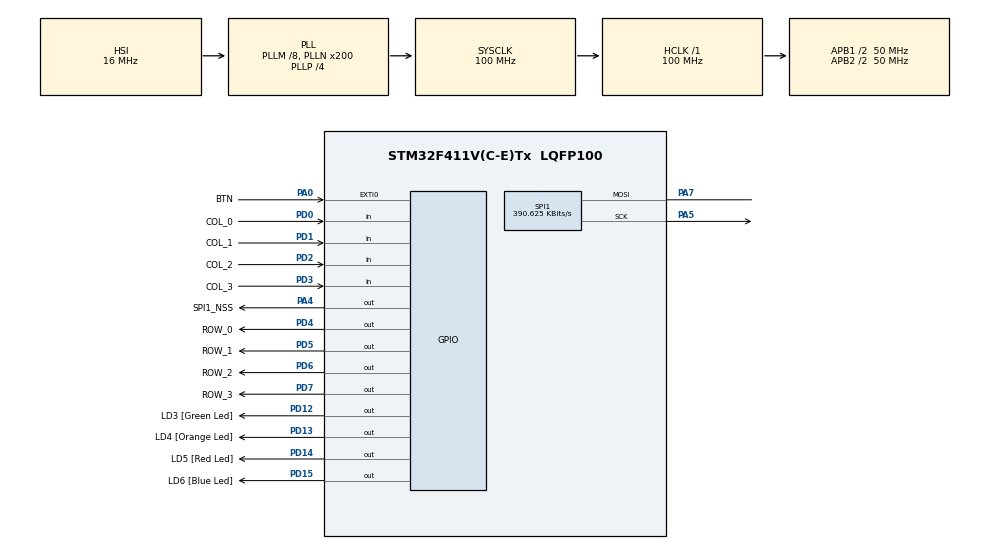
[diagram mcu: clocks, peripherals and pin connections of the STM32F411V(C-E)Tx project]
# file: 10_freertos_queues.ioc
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Mcu.Family=STM32F4
Mcu.Name=STM32F411V(C-E)Tx
Mcu.Package=LQFP100
NVIC.EXTI0_IRQn=true\:7\:0\:true\:false\:true\:true\:true
NVIC.PriorityGroup=NVIC_PRIORITYGROUP_4
NVIC.TIM5_IRQn=true\:15\:0\:true\:false\:true\:false\:true
NVIC.TimeBase=TIM5_IRQn
NVIC.TimeBaseIP=TIM5
PA0-WKUP.GPIO_Label=BTN
PA0-WKUP.GPIO_PuPd=GPIO_PULLDOWN
PA0-WKUP.Signal=GPXTI0
PA13.GPIO_Label=SWDIO
PA13.Signal=SYS_JTMS-SWDIO
PA14.GPIO_Label=SWCLK
PA14.Signal=SYS_JTCK-SWCLK
PA4.GPIO_Label=SPI1_NSS
PA4.GPIO_PuPd=GPIO_PULLDOWN
PA4.GPIO_Speed=GPIO_SPEED_FREQ_MEDIUM
PA4.PinState=GPIO_PIN_SET
PA4.Signal=GPIO_Output
PA5.Mode=Simplex_Bidirectional_Master
PA5.Signal=SPI1_SCK
PA7.Mode=Simplex_Bidirectional_Master
PA7.Signal=SPI1_MOSI
PB3.GPIO_Label=SWO
PB3.Signal=SYS_JTDO-SWO
PD0.GPIO_Label=COL_0
PD0.GPIO_PuPd=GPIO_PULLDOWN
PD0.Signal=GPIO_Input
PD1.GPIO_Label=COL_1
PD1.GPIO_PuPd=GPIO_PULLDOWN
PD1.Signal=GPIO_Input
PD12.GPIO_Label=LD3 [Green Led]
PD12.GPIO_PuPd=GPIO_NOPULL
PD12.GPIO_Speed=GPIO_SPEED_FREQ_HIGH
PD12.Signal=GPIO_Output
PD13.GPIO_Label=LD4 [Orange Led]
PD13.GPIO_PuPd=GPIO_NOPULL
PD13.GPIO_Speed=GPIO_SPEED_FREQ_HIGH
PD13.Signal=GPIO_Output
PD14.GPIO_Label=LD5 [Red Led]
PD14.GPIO_PuPd=GPIO_NOPULL
PD14.GPIO_Speed=GPIO_SPEED_FREQ_HIGH
PD14.Signal=GPIO_Output
PD15.GPIO_Label=LD6 [Blue Led]
PD15.GPIO_PuPd=GPIO_NOPULL
PD15.GPIO_Speed=GPIO_SPEED_FREQ_HIGH
PD15.Signal=GPIO_Output
PD2.GPIO_Label=COL_2
PD2.GPIO_PuPd=GPIO_PULLDOWN
PD2.Signal=GPIO_Input
PD3.GPIO_Label=COL_3
PD3.GPIO_PuPd=GPIO_PULLDOWN
PD3.Signal=GPIO_Input
PD4.GPIO_Label=ROW_0
PD4.GPIO_PuPd=GPIO_PULLDOWN
PD4.GPIO_Speed=GPIO_SPEED_FREQ_HIGH
PD4.Signal=GPIO_Output
PD5.GPIO_Label=ROW_1
PD5.GPIO_PuPd=GPIO_PULLDOWN
PD5.GPIO_Speed=GPIO_SPEED_FREQ_HIGH
PD5.Signal=GPIO_Output
PD6.GPIO_Label=ROW_2
PD6.GPIO_PuPd=GPIO_PULLDOWN
PD6.GPIO_Speed=GPIO_SPEED_FREQ_HIGH
PD6.Signal=GPIO_Output
PD7.GPIO_Label=ROW_3
PD7.GPIO_PuPd=GPIO_PULLDOWN
PD7.GPIO_Speed=GPIO_SPEED_FREQ_HIGH
PD7.Signal=GPIO_Output
ProjectManager.HeapSize=0x200
ProjectManager.StackSize=0x400
ProjectManager.TargetToolchain=STM32CubeIDE
RCC.48MHZClocksFreq_Value=50000000
RCC.AHBFreq_Value=100000000
RCC.APB1CLKDivider=RCC_HCLK_DIV2
RCC.APB1Freq_Value=50000000
RCC.APB1TimFreq_Value=100000000
RCC.APB2CLKDivider=RCC_HCLK_DIV2
RCC.APB2Freq_Value=50000000
RCC.APB2TimFreq_Value=100000000
RCC.CortexFreq_Value=100000000
RCC.HCLKFreq_Value=100000000
RCC.HSE_VALUE=8000000
RCC.HSI_VALUE=16000000
RCC.LSE_VALUE=32768
RCC.PLLI2SM=5
RCC.PLLI2SN=200
RCC.PLLM=8
RCC.PLLN=200
RCC.PLLP=RCC_PLLP_DIV4
RCC.PLLQ=8
RCC.SYSCLKFreq_VALUE=100000000
RCC.SYSCLKSource=RCC_SYSCLKSOURCE_PLLCLK
RCC.VCOOutputFreq_Value=400000000
SPI1.BaudRatePrescaler=SPI_BAUDRATEPRESCALER_128
SPI1.CLKPhase=SPI_PHASE_2EDGE
SPI1.CLKPolarity=SPI_POLARITY_HIGH
SPI1.CalculateBaudRate=390.625 KBits/s
SPI1.Direction=SPI_DIRECTION_1LINE
SPI1.FirstBit=SPI_FIRSTBIT_LSB
SPI1.Mode=SPI_MODE_MASTER
SPI1.VirtualType=VM_MASTER
VP_SYS_VS_tim5.Mode=TIM5
board=STM32F411E-DISCO

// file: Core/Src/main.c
/* USER CODE BEGIN Header */
/**
 ******************************************************************************
 * @file           : main.c
 * @brief          : Main program body
 ******************************************************************************
 * @attention
 *
 * Copyright (c) 2023 STMicroelectronics.
 * All rights reserved.
 *
 * This software is licensed under terms that can be found in the LICENSE file
 * in the root directory of this software component.
 * If no LICENSE file comes with this software, it is provided AS-IS.
 *
 ******************************************************************************
 */
/* USER CODE END Header */
#include "main.h"

/* USER CODE BEGIN Includes */
#include "FreeRTOS.h"
#include "task.h"
#include <stdio.h>
#include "queue.h"
/* USER CODE END Includes */

SPI_HandleTypeDef hspi1;

/* USER CODE BEGIN PV */
#define DWT_CTRL    (*(volatile uint32_t*)0xE0001000)

TaskHandle_t led_green;
TaskHandle_t keypad;

QueueHandle_t qdata_key;

struct data {
	uint32_t id;
	uint32_t number;
};
/* USER CODE END PV */

void SystemClock_Config(void);
static void MX_GPIO_Init(void);
static void MX_SPI1_Init(void);
/* USER CODE BEGIN PFP */

extern void SEGGER_SYSVIEW_Conf(void);
extern void SEGGER_SYSVIEW_Start(void);

static void handle_led_green(void *parameters);
void btn_user(void);
static void handle_keypad(void *parameters);

/* USER CODE END PFP */

/* USER CODE BEGIN 0 */
extern void SEGGER_UART_init(uint32_t);

/* USER CODE END 0 */

int main(void)
{
  /* USER CODE BEGIN 1 */

	BaseType_t status;
  /* USER CODE END 1 */

  /* MCU Configuration--------------------------------------------------------*/

  /* Reset of all peripherals, Initializes the Flash interface and the Systick. */
  HAL_Init();

  /* Configure the system clock */
  SystemClock_Config();

  /* Initialize all configured peripherals */
  MX_GPIO_Init();
  MX_SPI1_Init();
  /* USER CODE BEGIN 2 */
	//Enable the CYCCNT counter.
	DWT_CTRL |= (1 << 0);

	SEGGER_SYSVIEW_Conf();
	SEGGER_SYSVIEW_Start();

	SEGGER_UART_init(500000);

	status = xTaskCreate(handle_led_green, "led_green", 200,
			"this is task led green", 3, &led_green);
	configASSERT(status == pdPASS);

	status = xTaskCreate(handle_keypad, "keypad_task", 200,
			"this is task keypad", 2, &keypad);
	configASSERT(status == pdPASS);

	qdata_key = xQueueCreate(10, sizeof(struct data));
	if (qdata_key == NULL) {
		/* Queue was not created and must not be used. */
	}

	vTaskStartScheduler();
  /* USER CODE END 2 */

  /* Infinite loop */
	while (1) {

	}
}

void SystemClock_Config(void)
{
  RCC_OscInitTypeDef RCC_OscInitStruct = {0};
  RCC_ClkInitTypeDef RCC_ClkInitStruct = {0};

  /** Configure the main internal regulator output voltage
  */
  __HAL_RCC_PWR_CLK_ENABLE();
  __HAL_PWR_VOLTAGESCALING_CONFIG(PWR_REGULATOR_VOLTAGE_SCALE1);
  /** Initializes the RCC Oscillators according to the specified parameters
  * in the RCC_OscInitTypeDef structure.
  */
  RCC_OscInitStruct.OscillatorType = RCC_OSCILLATORTYPE_HSI;
  RCC_OscInitStruct.HSIState = RCC_HSI_ON;
  RCC_OscInitStruct.HSICalibrationValue = RCC_HSICALIBRATION_DEFAULT;
  RCC_OscInitStruct.PLL.PLLState = RCC_PLL_ON;
  RCC_OscInitStruct.PLL.PLLSource = RCC_PLLSOURCE_HSI;
  RCC_OscInitStruct.PLL.PLLM = 8;
  RCC_OscInitStruct.PLL.PLLN = 200;
  RCC_OscInitStruct.PLL.PLLP = RCC_PLLP_DIV4;
  RCC_OscInitStruct.PLL.PLLQ = 8;
  if (HAL_RCC_OscConfig(&RCC_OscInitStruct) != HAL_OK)
  {
    Error_Handler();
  }
  /** Initializes the CPU, AHB and APB buses clocks
  */
  RCC_ClkInitStruct.ClockType = RCC_CLOCKTYPE_HCLK|RCC_CLOCKTYPE_SYSCLK
                              |RCC_CLOCKTYPE_PCLK1|RCC_CLOCKTYPE_PCLK2;
  RCC_ClkInitStruct.SYSCLKSource = RCC_SYSCLKSOURCE_PLLCLK;
  RCC_ClkInitStruct.AHBCLKDivider = RCC_SYSCLK_DIV1;
  RCC_ClkInitStruct.APB1CLKDivider = RCC_HCLK_DIV2;
  RCC_ClkInitStruct.APB2CLKDivider = RCC_HCLK_DIV2;

  if (HAL_RCC_ClockConfig(&RCC_ClkInitStruct, FLASH_LATENCY_3) != HAL_OK)
  {
    Error_Handler();
  }
}

static void MX_SPI1_Init(void)
{

  /* SPI1 parameter configuration*/
  hspi1.Instance = SPI1;
  hspi1.Init.Mode = SPI_MODE_MASTER;
  hspi1.Init.Direction = SPI_DIRECTION_1LINE;
  hspi1.Init.DataSize = SPI_DATASIZE_8BIT;
  hspi1.Init.CLKPolarity = SPI_POLARITY_HIGH;
  hspi1.Init.CLKPhase = SPI_PHASE_2EDGE;
  hspi1.Init.NSS = SPI_NSS_SOFT;
  hspi1.Init.BaudRatePrescaler = SPI_BAUDRATEPRESCALER_128;
  hspi1.Init.FirstBit = SPI_FIRSTBIT_LSB;
  hspi1.Init.TIMode = SPI_TIMODE_DISABLE;
  hspi1.Init.CRCCalculation = SPI_CRCCALCULATION_DISABLE;
  hspi1.Init.CRCPolynomial = 10;
  if (HAL_SPI_Init(&hspi1) != HAL_OK)
  {
    Error_Handler();
  }

}

static void MX_GPIO_Init(void)
{
  GPIO_InitTypeDef GPIO_InitStruct = {0};

  /* GPIO Ports Clock Enable */
  __HAL_RCC_GPIOA_CLK_ENABLE();
  __HAL_RCC_GPIOD_CLK_ENABLE();
  __HAL_RCC_GPIOB_CLK_ENABLE();

  /*Configure GPIO pin Output Level */
  HAL_GPIO_WritePin(SPI1_NSS_GPIO_Port, SPI1_NSS_Pin, GPIO_PIN_SET);

  /*Configure GPIO pin Output Level */
  HAL_GPIO_WritePin(GPIOD, LD3_Pin|LD4_Pin|LD5_Pin|LD6_Pin
                          |ROW_0_Pin|ROW_1_Pin|ROW_2_Pin|ROW_3_Pin, GPIO_PIN_RESET);

  /*Configure GPIO pin : BTN_Pin */
  GPIO_InitStruct.Pin = BTN_Pin;
  GPIO_InitStruct.Mode = GPIO_MODE_IT_RISING;
  GPIO_InitStruct.Pull = GPIO_PULLDOWN;
  HAL_GPIO_Init(BTN_GPIO_Port, &GPIO_InitStruct);

  /*Configure GPIO pin : SPI1_NSS_Pin */
  GPIO_InitStruct.Pin = SPI1_NSS_Pin;
  GPIO_InitStruct.Mode = GPIO_MODE_OUTPUT_PP;
  GPIO_InitStruct.Pull = GPIO_PULLDOWN;
  GPIO_InitStruct.Speed = GPIO_SPEED_FREQ_MEDIUM;
  HAL_GPIO_Init(SPI1_NSS_GPIO_Port, &GPIO_InitStruct);

  /*Configure GPIO pins : LD3_Pin LD4_Pin LD5_Pin LD6_Pin */
  GPIO_InitStruct.Pin = LD3_Pin|LD4_Pin|LD5_Pin|LD6_Pin;
  GPIO_InitStruct.Mode = GPIO_MODE_OUTPUT_PP;
  GPIO_InitStruct.Pull = GPIO_NOPULL;
  GPIO_InitStruct.Speed = GPIO_SPEED_FREQ_HIGH;
  HAL_GPIO_Init(GPIOD, &GPIO_InitStruct);

  /*Configure GPIO pins : COL_0_Pin COL_1_Pin COL_2_Pin COL_3_Pin */
  GPIO_InitStruct.Pin = COL_0_Pin|COL_1_Pin|COL_2_Pin|COL_3_Pin;
  GPIO_InitStruct.Mode = GPIO_MODE_INPUT;
  GPIO_InitStruct.Pull = GPIO_PULLDOWN;
  HAL_GPIO_Init(GPIOD, &GPIO_InitStruct);

  /*Configure GPIO pins : ROW_0_Pin ROW_1_Pin ROW_2_Pin ROW_3_Pin */
  GPIO_InitStruct.Pin = ROW_0_Pin|ROW_1_Pin|ROW_2_Pin|ROW_3_Pin;
  GPIO_InitStruct.Mode = GPIO_MODE_OUTPUT_PP;
  GPIO_InitStruct.Pull = GPIO_PULLDOWN;
  GPIO_InitStruct.Speed = GPIO_SPEED_FREQ_HIGH;
  HAL_GPIO_Init(GPIOD, &GPIO_InitStruct);

  /* EXTI interrupt init*/
  HAL_NVIC_SetPriority(EXTI0_IRQn, 7, 0);
  HAL_NVIC_EnableIRQ(EXTI0_IRQn);

}

/* USER CODE BEGIN 4 */
void handle_led_green(void *parameters) {
	struct data data_receive = { 0, 0 };
	while (1) {
		if (qdata_key != NULL) {
			if (xQueueReceive(qdata_key, &data_receive,
					(TickType_t) 10) == pdPASS) {
				/* *pxRxedPointer now points to xMessage. */
				SEGGER_SYSVIEW_PrintfTarget("have received data");

				if (data_receive.id == 1111) {
					SEGGER_SYSVIEW_PrintfTarget(
							"execute print number in task 1");
				HAL_GPIO_TogglePin(GPIOD, LD6_Pin);
				}
			}
		}
	}
}

void handle_keypad(void *parameters) {
	char key;
	struct data data_trans;
	while (1) {
		key = keypad_read();
		switch (key) {
		case '0':

			break;
		case '1':
			SEGGER_SYSVIEW_PrintfTarget("toggle led green ");
			HAL_GPIO_WritePin(GPIOD, LD3_Pin, GPIO_PIN_SET);
			data_trans.id = keypad_enter();
			HAL_GPIO_WritePin(GPIOD, LD3_Pin, GPIO_PIN_RESET);

			HAL_GPIO_WritePin(GPIOD, LD4_Pin, GPIO_PIN_SET);
			data_trans.number = keypad_enter();
			HAL_GPIO_WritePin(GPIOD, LD4_Pin, GPIO_PIN_RESET);

			xQueueSend(qdata_key, (void* )&data_trans, (TickType_t ) 0);
			break;
		case '2':
			SEGGER_SYSVIEW_PrintfTarget("toggle led_orange ");

			break;
		case '3':
			SEGGER_SYSVIEW_PrintfTarget("toggle led_red ");

			break;
		case '4':
			SEGGER_SYSVIEW_PrintfTarget("toggle led_blue ");

			break;
		default:
			break;
		}
		vTaskDelay(pdMS_TO_TICKS(10));
	}
}
/* USER CODE END 4 */

void HAL_TIM_PeriodElapsedCallback(TIM_HandleTypeDef *htim)
{
  if (htim->Instance == TIM5) {
    HAL_IncTick();
  }
}

void Error_Handler(void)
{
	__disable_irq();
	while (1) {
	}
}
